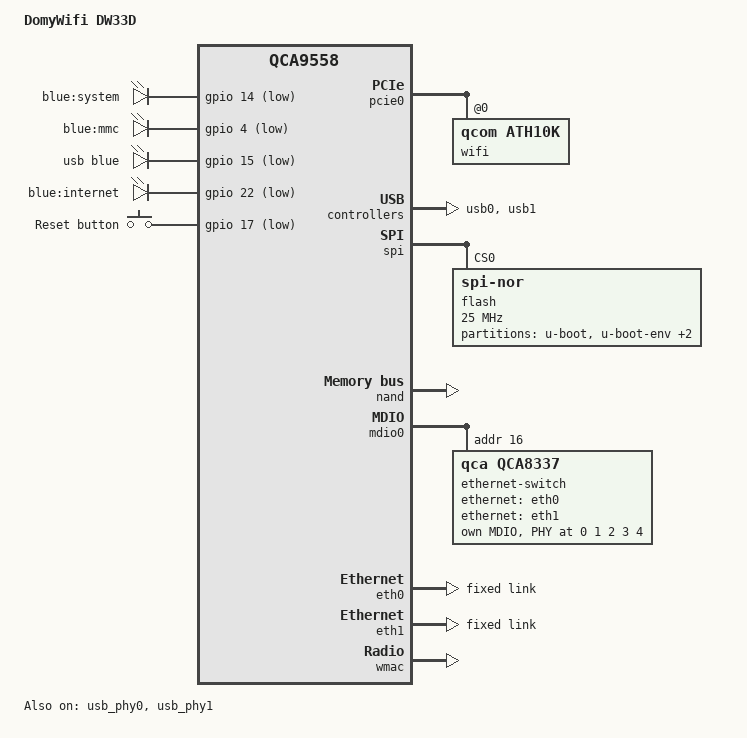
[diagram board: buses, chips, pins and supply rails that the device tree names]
// SPDX-License-Identifier: GPL-2.0-or-later OR MIT

#include "qca955x.dtsi"
#include "qca955x_ag71xx.dtsi"

#include <dt-bindings/gpio/gpio.h>
#include <dt-bindings/input/input.h>
#include <dt-bindings/leds/common.h>

/ {
	compatible = "domywifi,dw33d", "qca,qca9558";
	model = "DomyWifi DW33D";

	aliases {
		led-boot = &led_system;
		led-failsafe = &led_system;
		led-running = &led_system;
		led-upgrade = &led_system;
	};

	leds {
		compatible = "gpio-leds";

		led_system: system {
			label = "blue:system";
			gpios = <&gpio 14 GPIO_ACTIVE_LOW>;
		};

		mmc {
			label = "blue:mmc";
			gpios = <&gpio 4 GPIO_ACTIVE_LOW>;
			trigger-sources = <&hub_port0>;
			linux,default-trigger = "usbport";
		};

		usb {
			function = LED_FUNCTION_USB;
			color = <LED_COLOR_ID_BLUE>;
			gpios = <&gpio 15 GPIO_ACTIVE_LOW>;
			trigger-sources = <&hub_port1>;
			linux,default-trigger = "usbport";
		};

		internet {
			label = "blue:internet";
			gpios = <&gpio 22 GPIO_ACTIVE_LOW>;
		};
	};

	keys {
		compatible = "gpio-keys";

		reset {
			label = "Reset button";
			linux,code = <KEY_RESTART>;
			gpios = <&gpio 17 GPIO_ACTIVE_LOW>;
			debounce-interval = <60>;
		};
	};
};

&pcie0 {
	status = "okay";

	wifi@0,0 {
		compatible = "qcom,ath10k";
		reg = <0 0 0 0 0>;
		nvmem-cells = <&cal_art_5000>, <&macaddr_art_12>;
		nvmem-cell-names = "calibration", "mac-address";
	};
};

&usb_phy0 {
	status = "okay";
};

&usb0 {
	status = "okay";
};

&usb_phy1 {
	status = "okay";
};

&usb1 {
	status = "okay";
};

&spi {
	status = "okay";

	flash@0 {
		compatible = "jedec,spi-nor";
		reg = <0>;
		spi-max-frequency = <25000000>;

		partitions {
			compatible = "fixed-partitions";
			#address-cells = <1>;
			#size-cells = <1>;

			partition@0 {
				label = "u-boot";
				reg = <0x0 0x40000>;
				read-only;
			};

			partition@40000 {
				label = "u-boot-env";
				reg = <0x40000 0x10000>;
			};

			partition@50000 {
				label = "oem-firmware";
				reg = <0x50000 0xfa0000>;
			};

			partition@ff0000 {
				label = "art";
				reg = <0xff0000 0x10000>;
				read-only;

				nvmem-layout {
					compatible = "fixed-layout";
					#address-cells = <1>;
					#size-cells = <1>;

					macaddr_art_0: macaddr@0 {
						reg = <0x0 0x6>;
					};

					macaddr_art_6: macaddr@6 {
						reg = <0x6 0x6>;
					};

					macaddr_art_c: macaddr@c {
						reg = <0xc 0x6>;
					};

					macaddr_art_12: macaddr@12 {
						reg = <0x12 0x6>;
					};

					cal_art_1000: calibration@1000 {
						reg = <0x1000 0x440>;
					};

					cal_art_5000: calibration@5000 {
						reg = <0x5000 0x844>;
					};
				};
			};
		};
	};
};

&nand {
	status = "okay";

	partitions {
		compatible = "fixed-partitions";
		#address-cells = <1>;
		#size-cells = <1>;

		partition@0 {
			label = "kernel";
			reg = <0x0 0x500000>;
		};

		partition@500000 {
			label = "ubi";
			reg = <0x500000 0x5b00000>;
		};

		partition@6000000 {
			label = "oem-backup";
			reg = <0x6000000 0x2000000>;
		};
	};
};

&mdio0 {
	status = "okay";

	ethernet-switch@10 {
		compatible = "qca,qca8337";
		#address-cells = <1>;
		#size-cells = <0>;
		reg = <0x10>;

		ethernet-ports {
			#address-cells = <1>;
			#size-cells = <0>;

			ethernet-port@0 {
				reg = <0>;
				ethernet = <&eth0>;
				phy-mode = "rgmii-id";

				fixed-link {
					speed = <1000>;
					full-duplex;
				};
			};

			ethernet-port@1 {
				reg = <1>;
				label = "wan";
				phy-mode = "internal";
				phy-handle = <&phy_port1>;
			};

			ethernet-port@2 {
				reg = <2>;
				label = "lan1";
				phy-mode = "internal";
				phy-handle = <&phy_port2>;
			};

			ethernet-port@3 {
				reg = <3>;
				label = "lan2";
				phy-mode = "internal";
				phy-handle = <&phy_port3>;
			};

			ethernet-port@4 {
				reg = <4>;
				label = "lan3";
				phy-mode = "internal";
				phy-handle = <&phy_port4>;
			};

			ethernet-port@5 {
				reg = <5>;
				label = "lan4";
				phy-mode = "internal";
				phy-handle = <&phy_port5>;
			};

			ethernet-port@6 {
				reg = <6>;
				ethernet = <&eth1>;
				phy-mode = "sgmii";
				qca,sgmii-rxclk-falling-edge;

				fixed-link {
					speed = <1000>;
					full-duplex;
				};
			};
		};

		mdio {
			#address-cells = <1>;
			#size-cells = <0>;

			phy_port1: ethernet-phy@0 {
				reg = <0>;
			};

			phy_port2: ethernet-phy@1 {
				reg = <1>;
			};

			phy_port3: ethernet-phy@2 {
				reg = <2>;
			};

			phy_port4: ethernet-phy@3 {
				reg = <3>;
			};

			phy_port5: ethernet-phy@4 {
				reg = <4>;
			};
		};
	};
};

&eth0 {
	status = "okay";

	qca,gmac = <&gmac>;
	qca,pll = <&pll>;
	rx-internal-delay-ps = <900>;
	tx-internal-delay-ps = <2800>;

	nvmem-cells = <&macaddr_art_0>;
	nvmem-cell-names = "mac-address";

	fixed-link {
		speed = <1000>;
		full-duplex;
	};
};

&eth1 {
	status = "okay";

	nvmem-cells = <&macaddr_art_6>;
	nvmem-cell-names = "mac-address";
	pll-data = <0x03000101 0x00000101 0x00001616>;
	fixed-link {
		speed = <1000>;
		full-duplex;
	};
};

&wmac {
	status = "okay";

	nvmem-cells = <&macaddr_art_c>, <&cal_art_1000>;
	nvmem-cell-names = "mac-address", "calibration";

	led {
		led-sources = <13>;
		led-active-low;
	};
};
